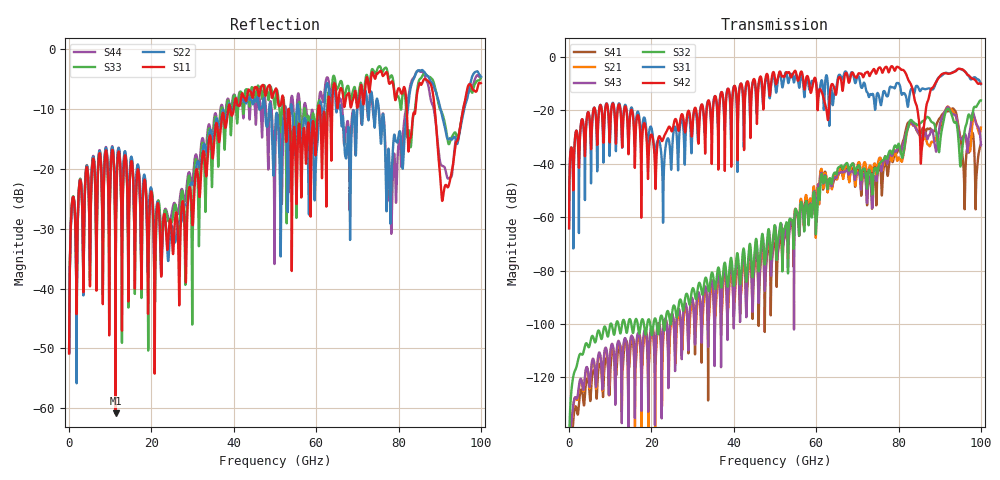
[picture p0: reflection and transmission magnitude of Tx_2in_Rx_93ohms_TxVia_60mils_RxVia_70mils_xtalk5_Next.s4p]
! Info: Touchstone file created by Circ.  Input file=Tx_2in_Rx_93ohms_TxVia_60mils_RxVia_70mils.circ
# Hz S RI R 50
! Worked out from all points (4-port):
!   10000 points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, 10 MHz to 100 GHz, reference 50 ohm
!   strongest paths, dB at 10 MHz, 25.01 GHz, 50.01 GHz, 75.01 GHz, 100 GHz:
!     S42: -64.2, -27.8, -8.2, -4.6, -10.0
!     S31: -64.1, -35.3, -10.0, -13.6, -10.2
!     S32: -156.4, -96.0, -63.2, -42.2, -16.3
!     S43: -158.1, -96.1, -63.3, -41.8, -33.1
!     S21: -167.1, -98.1, -66.0, -39.7, -26.4
!     S41: -158.3, -96.4, -67.5, -42.7, -32.8
!   lowest |S11| = -60.8 dB at 11.29 GHz (marker M1), VSWR 1.00, Z = 50 - j0.089 ohm
!   |S11| at or under -10 dB: start of sweep to 38.65 GHz; 53.37 GHz to 60.47 GHz (7.097 GHz wide, 12.5 % of centre); 88.81 GHz to 95.73 GHz (6.924 GHz wide, 7.5 % of centre)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
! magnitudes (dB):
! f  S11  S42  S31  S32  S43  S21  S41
! 10 MHz  -50.8  -64.2  -64.1  -156.4  -158.1  -167.1  -158.3
! 11.29 GHz  -60.8  -29.3  -30.7  -101.2  -122.7  -124.4  -116.6
! 22.84 GHz  -28.9  -30.8  -59.9  -99.6  -102.6  -106.5  -104.1
! 44.62 GHz  -8.0  -9.3  -9.4  -81.9  -90.1  -83.7  -94.2
! 82.66 GHz  -15.1  -9.3  -14.4  -24.3  -24.5  -25.4  -24.2
! 85.61 GHz  -5.9  -34.9  -11.9  -24.4  -30.1  -31.3  -27.7
! 100 GHz  -5.6  -10.0  -10.2  -16.3  -33.1  -26.4  -32.8
